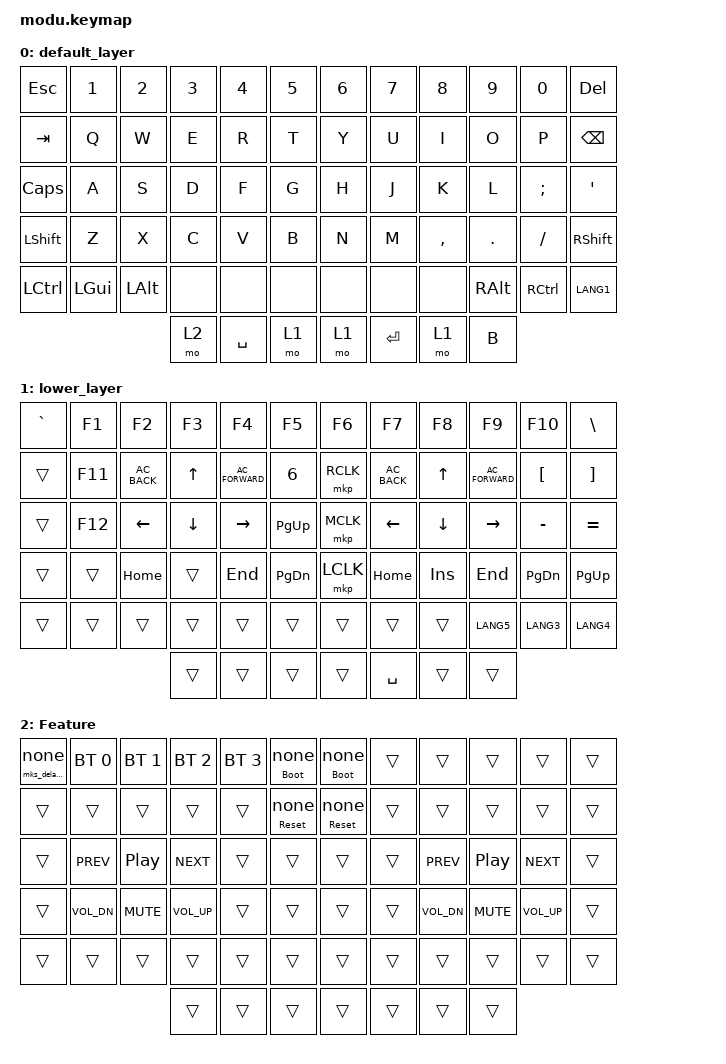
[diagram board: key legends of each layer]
/*
 * Copyright (c) 2026 EKS Inc.
 * Created by Ryu.
 * SPDX-License-Identifier: LicenseRef-EKS-NonCommercial-1.0
 */

#include <behaviors.dtsi>
#include <dt-bindings/zmk/keys.h>
#include <dt-bindings/zmk/bt.h>
#include <dt-bindings/zmk/pointing.h>

/ {
    behaviors {
        mks_boot_hold: mks_bootloader_hold {
            compatible = "zmk,behavior-hold-tap";
            #binding-cells = <2>;
            flavor = "tap-preferred";
            tapping-term-ms = <500>;
            bindings = <&bootloader>, <&none>;
        };
        mks_reset_hold: mks_system_reset_hold {
            compatible = "zmk,behavior-hold-tap";
            #binding-cells = <2>;
            flavor = "tap-preferred";
            tapping-term-ms = <500>;
            bindings = <&sys_reset>, <&none>;
        };

        mks_delay_1_action: mks_delay_1_action {
            compatible = "zmk,behavior-macro";
            #binding-cells = <0>;
            wait-ms = <0>;
            tap-ms = <0>;
            bindings = <&macro_press &bt BT_CLR>, <&macro_pause_for_release>, <&macro_release &bt BT_CLR>;
        };
        mks_delay_1: mks_delay_1 {
            /* mks-delay-args: 3 */
            compatible = "zmk,behavior-hold-tap";
            #binding-cells = <2>;
            flavor = "tap-preferred";
            tapping-term-ms = <500>;
            bindings = <&mks_delay_1_action>, <&none>;
        };
    };

    keymap {
        compatible = "zmk,keymap";

        default_layer {
// -----------------------------------------------------------------
// |ESC | 1  | 2  | 3  | 4  | 5  |   | 6  | 7  | 8  | 9  | 0  |DEL |
// |TAB | Q  | W  | E  | R  | T  |   | Y  | U  | I  | O  | P  |HOME|
// |CAPS| A  | S  | D  | F  | G  |   | H  | J  | K  | L  | ;  |PGUP|
// |LSFT| Z  | X  | C  | V  | B  |   | N  | M  | ,  | .  | /  |PGDN|
// |LCTL|LALT|LGUI|                                 |RALT|RCTL|END |
//                |MO1 |LANG|SPC |   |BSPC|RET |MO1 | B  |
            bindings = <
&kp ESC   &kp N1   &kp N2    &kp N3    &kp N4    &kp N5      &kp N6    &kp N7    &kp N8    &kp N9    &kp N0    &kp DEL
&kp TAB   &kp Q    &kp W     &kp E     &kp R     &kp T       &kp Y     &kp U     &kp I     &kp O     &kp P     &kp BSPC
&kp CAPS  &kp A    &kp S     &kp D     &kp F     &kp G       &kp H     &kp J     &kp K     &kp L     &kp SEMI  &kp SQT
&kp LSHFT &kp Z    &kp X     &kp C     &kp V     &kp B       &kp N     &kp M     &kp COMMA &kp DOT   &kp FSLH  &kp RSHFT
&kp LCTRL &kp LGUI &kp LALT  &none     &none     &none       &none     &none     &none     &kp RALT  &kp RCTRL &kp LANG1
                             &mo 2     &kp SPACE &mo 1   &mo 1  &kp RET   &mo 1    &kp B
            >;
        };

        lower_layer {
            bindings = <
&kp GRAVE   &kp F1  &kp F2    &kp F3    &kp F4    &kp F5                   &kp F6    &kp F7    &kp F8    &kp F9   &kp F10   &kp BSLH
&trans   &kp F11   &kp C_AC_BACK    &kp UP    &kp C_AC_FORWARD   &kp N6                &mkp RCLK      &kp C_AC_BACK    &kp UP    &kp C_AC_FORWARD   &kp LBKT        &kp RBKT
&trans   &kp F12   &kp LEFT    &kp DOWN    &kp RIGHT   &kp PG_UP            &mkp MCLK     &kp LEFT    &kp DOWN    &kp RIGHT   &kp MINUS       &kp EQUAL 
&trans &trans &kp HOME &trans &kp END  &kp PG_DN        &mkp LCLK   &kp HOME    &kp INS    &kp END    &kp PG_DN        &kp PG_UP
&trans   &trans  &trans    &trans    &trans    &trans      &trans       &trans    &trans    &kp LANG5    &kp LANG3      &kp LANG4
                            &trans    &trans    &trans      &trans      &kp SPACE    &trans   &trans
            >;
        };

        feature {
            display-name = "Feature";
            bindings = <
                &mks_delay_1 0 0  &bt BT_SEL 0  &bt BT_SEL 1  &bt BT_SEL 2  &bt BT_SEL 3  &mks_boot_hold 0 0  &mks_boot_hold 0 0  &trans  &trans  &trans  &trans  &trans
                &trans  &trans  &trans  &trans  &trans  &mks_reset_hold 0 0  &mks_reset_hold 0 0  &trans  &trans  &trans  &trans  &trans
                &trans  &kp C_PREV  &kp C_PP  &kp C_NEXT  &trans  &trans  &trans  &trans  &kp C_PREV  &kp C_PP  &kp C_NEXT  &trans
                &trans  &kp C_VOL_DN  &kp C_MUTE  &kp C_VOL_UP  &trans  &trans  &trans  &trans  &kp C_VOL_DN  &kp C_MUTE  &kp C_VOL_UP  &trans
                &trans  &trans  &trans  &trans  &trans  &trans  &trans  &trans  &trans  &trans  &trans  &trans
                &trans  &trans  &trans  &trans  &trans  &trans  &trans
            >;
        };

    };
};
